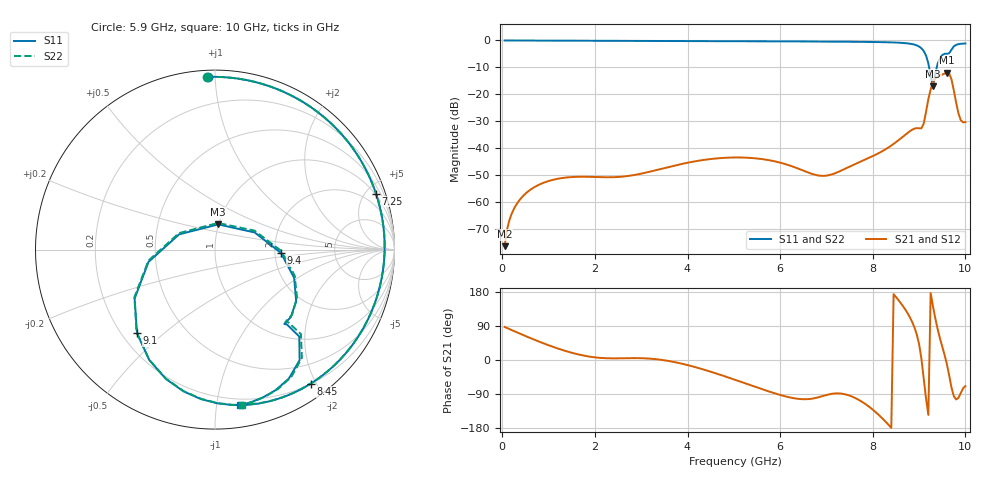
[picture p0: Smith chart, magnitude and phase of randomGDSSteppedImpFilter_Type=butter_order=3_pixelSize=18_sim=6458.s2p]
! freq	dB(S11)	phase(S11)	dB(S12)	phase(S12)
!  dB(S21)	phase(S21)	dB(S22)	phase(S22)
!S-par simulation data
#  GHz  S  DB  R 50
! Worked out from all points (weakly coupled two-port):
!   200 points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, 50 MHz to 10 GHz, reference 50 ohm
!   highest |S21| = -11.99 dB at 9.6 GHz (marker M1); lowest = -76.4 dB at 50 MHz (marker M2)
!   lowest |S11| = -17.0 dB at 9.3 GHz (marker M3), VSWR 1.33, Z = 49.8 + j14.3 ohm
!   |S11| at or under -10 dB: 9.216 GHz to 9.382 GHz (166.1 MHz wide, 1.79 % of centre)
!   |S22| runs from -16.5 to 0.0 dB; largest |S21 - S12| = 0
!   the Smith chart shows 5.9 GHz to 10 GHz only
!   S11 on the Smith chart (normalised r, x): 5.9 GHz: 0.04, +0.96; 7.25 GHz: 0.91, +5.79; 8.45 GHz: 0.20, -1.93; 9.1 GHz: 0.26, -0.41; 9.4 GHz: 2.16, -0.09; 10 GHz: 0.15, -1.16
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0.05  -0.00 -2.8  -76.39 87.2  -76.39 87.2  -0.00 -2.8
0.2  -0.01 -10.9  -64.47 79.1  -64.47 79.1  -0.01 -10.9
0.5  -0.03 -27.0  -56.90 63.3  -56.90 63.3  -0.03 -27.0
1.75  -0.10 -89.5  -50.61 11.9  -50.61 11.9  -0.10 -89.5
3.4  -0.17 -159.8  -47.82 1.0  -47.82 1.0  -0.17 -159.7
4.25  -0.22 165.9  -44.63 -21.7  -44.63 -21.7  -0.22 166.1
5.05  -0.27 132.0  -43.45 -53.3  -43.45 -53.3  -0.27 132.3
5.9  -0.33 92.2  -44.96 -88.6  -44.96 -88.6  -0.33 92.6
6.7  -0.39 50.2  -49.62 -101.9  -49.62 -101.9  -0.39 50.7
7.25  -0.45 19.2  -48.86 -88.1  -48.86 -88.1  -0.45 19.7
7.8  -0.53 -13.1  -44.51 -112.8  -44.51 -112.8  -0.53 -12.6
8.35  -0.69 -47.6  -39.61 -172.4  -39.61 -172.4  -0.69 -47.2
8.45  -0.74 -54.5  -38.42 173.8  -38.42 173.8  -0.75 -54.1
8.85  -1.35 -89.1  -33.16 100.6  -33.16 100.6  -1.36 -89.1
9.1  -3.92 -133.0  -30.89 -49.2  -30.89 -49.2  -3.96 -133.5
9.2  -8.48 -169.5  -21.84 -144.8  -21.84 -144.8  -8.49 -170.5
9.3  -16.98 82.6  -15.64 141.6  -15.64 141.6  -16.53 83.9
9.4  -8.68 -2.9  -13.35 81.9  -13.35 81.9  -8.70 -0.9
9.6  -4.94 -47.0  -11.99 -10.6  -11.99 -10.6  -4.99 -45.7
9.7  -3.42 -45.9  -14.46 -72.9  -14.46 -72.9  -3.46 -44.5
9.9  -1.25 -72.1  -29.59 -87.6  -29.59 -87.6  -1.26 -71.0
10  -1.12 -81.0  -30.32 -68.9  -30.32 -68.9  -1.13 -80.1
